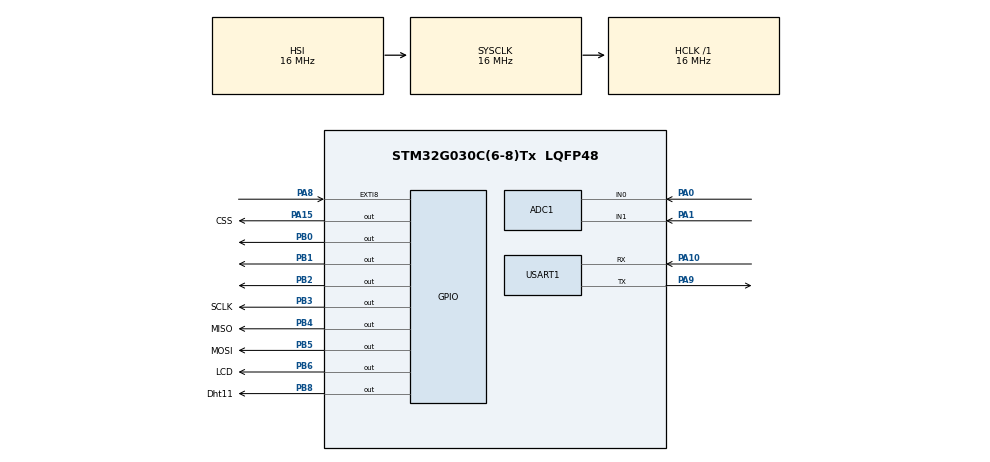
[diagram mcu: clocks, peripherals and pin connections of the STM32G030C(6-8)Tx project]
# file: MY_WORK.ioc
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ADC1.Channel-0\#ChannelRegularConversion=ADC_CHANNEL_1
ADC1.Channel-1\#ChannelRegularConversion=ADC_CHANNEL_0
ADC1.ContinuousConvMode=ENABLE
ADC1.NbrOfConversion=2
ADC1.NbrOfConversionFlag=1
ADC1.Rank-0\#ChannelRegularConversion=1
ADC1.Rank-1\#ChannelRegularConversion=2
ADC1.SamplingTime-0\#ChannelRegularConversion=ADC_SAMPLINGTIME_COMMON_1
ADC1.SamplingTime-1\#ChannelRegularConversion=ADC_SAMPLINGTIME_COMMON_1
ADC1.SelectedChannel=ADC_CHANNEL_0|ADC_CHANNEL_1
ADC1.master=1
Dma.ADC1.0.Direction=DMA_PERIPH_TO_MEMORY
Dma.ADC1.0.EventEnable=DISABLE
Dma.ADC1.0.Instance=DMA1_Channel1
Dma.ADC1.0.MemDataAlignment=DMA_MDATAALIGN_HALFWORD
Dma.ADC1.0.MemInc=DMA_MINC_ENABLE
Dma.ADC1.0.Mode=DMA_NORMAL
Dma.ADC1.0.PeriphDataAlignment=DMA_PDATAALIGN_HALFWORD
Dma.ADC1.0.PeriphInc=DMA_PINC_DISABLE
Dma.ADC1.0.Polarity=HAL_DMAMUX_REQ_GEN_RISING
Dma.ADC1.0.Priority=DMA_PRIORITY_LOW
Dma.ADC1.0.RequestNumber=1
Dma.ADC1.0.SignalID=NONE
Dma.ADC1.0.SyncEnable=DISABLE
Dma.ADC1.0.SyncPolarity=HAL_DMAMUX_SYNC_NO_EVENT
Dma.ADC1.0.SyncRequestNumber=1
Dma.ADC1.0.SyncSignalID=NONE
Dma.Request0=ADC1
Dma.Request1=USART1_RX
Dma.USART1_RX.1.Direction=DMA_PERIPH_TO_MEMORY
Dma.USART1_RX.1.EventEnable=DISABLE
Dma.USART1_RX.1.Instance=DMA1_Channel2
Dma.USART1_RX.1.MemDataAlignment=DMA_MDATAALIGN_BYTE
Dma.USART1_RX.1.MemInc=DMA_MINC_ENABLE
Dma.USART1_RX.1.Mode=DMA_NORMAL
Dma.USART1_RX.1.PeriphDataAlignment=DMA_PDATAALIGN_BYTE
Dma.USART1_RX.1.PeriphInc=DMA_PINC_DISABLE
Dma.USART1_RX.1.Polarity=HAL_DMAMUX_REQ_GEN_RISING
Dma.USART1_RX.1.Priority=DMA_PRIORITY_LOW
Dma.USART1_RX.1.RequestNumber=1
Dma.USART1_RX.1.SignalID=NONE
Dma.USART1_RX.1.SyncEnable=DISABLE
Dma.USART1_RX.1.SyncPolarity=HAL_DMAMUX_SYNC_NO_EVENT
Dma.USART1_RX.1.SyncRequestNumber=1
Dma.USART1_RX.1.SyncSignalID=NONE
Mcu.Family=STM32G0
Mcu.Name=STM32G030C(6-8)Tx
Mcu.Package=LQFP48
NVIC.ADC1_IRQn=true\:0\:0\:false\:false\:true\:true\:true\:true
NVIC.DMA1_Channel1_IRQn=true\:0\:0\:false\:false\:true\:false\:true\:true
NVIC.DMA1_Channel2_3_IRQn=true\:0\:0\:false\:false\:true\:false\:true\:true
NVIC.EXTI4_15_IRQn=true\:0\:0\:false\:false\:true\:true\:true\:true
NVIC.USART1_IRQn=true\:0\:0\:true\:false\:true\:true\:true\:true
PA0.Mode=IN0
PA0.Signal=ADC1_IN0
PA1.Mode=IN1
PA1.Signal=ADC1_IN1
PA10.Mode=Asynchronous
PA10.Signal=USART1_RX
PA13.Mode=Serial_Wire
PA13.Signal=SYS_SWDIO
PA14-BOOT0.Mode=Serial_Wire
PA14-BOOT0.Signal=SYS_SWCLK
PA15.GPIO_Label=CSS
PA15.GPIO_Speed=GPIO_SPEED_FREQ_VERY_HIGH
PA15.Signal=GPIO_Output
PA8.Signal=GPXTI8
PA9.Mode=Asynchronous
PA9.Signal=USART1_TX
PB0.PinState=GPIO_PIN_SET
PB0.Signal=GPIO_Output
PB1.PinState=GPIO_PIN_SET
PB1.Signal=GPIO_Output
PB2.PinState=GPIO_PIN_SET
PB2.Signal=GPIO_Output
PB3.GPIO_Label=SCLK
PB3.GPIO_Speed=GPIO_SPEED_FREQ_VERY_HIGH
PB3.Signal=GPIO_Output
PB4.GPIO_Label=MISO
PB4.GPIO_Speed=GPIO_SPEED_FREQ_VERY_HIGH
PB4.Signal=GPIO_Output
PB5.GPIO_Label=MOSI
PB5.GPIO_Speed=GPIO_SPEED_FREQ_VERY_HIGH
PB5.Signal=GPIO_Output
PB6.GPIO_Label=LCD
PB6.GPIO_Speed=GPIO_SPEED_FREQ_VERY_HIGH
PB6.Signal=GPIO_Output
PB8.GPIO_Label=Dht11
PB8.GPIO_ModeDefaultOutputPP=GPIO_MODE_OUTPUT_PP
PB8.GPIO_PuPd=GPIO_NOPULL
PB8.GPIO_Speed=GPIO_SPEED_FREQ_HIGH
PB8.PinState=GPIO_PIN_SET
PB8.Signal=GPIO_Output
ProjectManager.HeapSize=0x200
ProjectManager.StackSize=0x400
ProjectManager.TargetToolchain=MDK-ARM V5.32
RCC.ADCFreq_Value=16000000
RCC.AHBFreq_Value=16000000
RCC.CortexFreq_Value=16000000
RCC.EXTERNAL_CLOCK_VALUE=12288000
RCC.HCLKFreq_Value=16000000
RCC.HSE_VALUE=8000000
RCC.HSI_VALUE=16000000
RCC.LSE_VALUE=32768
RCC.SYSCLKFreq_VALUE=16000000
RCC.VCOOutputFreq_Value=128000000
USART1.VirtualMode-Asynchronous=VM_ASYNC
board=custom

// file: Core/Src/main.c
/* USER CODE BEGIN Header */
/**
  ******************************************************************************
  * @file           : main.c
  * @brief          : Main program body
  ******************************************************************************
  * @attention
  *
  * Copyright (c) 2024 STMicroelectronics.
  * All rights reserved.
  *
  * This software is licensed under terms that can be found in the LICENSE file
  * in the root directory of this software component.
  * If no LICENSE file comes with this software, it is provided AS-IS.
  *
  ******************************************************************************
  */
/* USER CODE END Header */
#include "main.h"
#include "adc.h"
#include "dma.h"
#include "usart.h"
#include "gpio.h"

/* USER CODE BEGIN Includes */
#include <stdio.h>
#include <string.h>
#include "dht11.h"
#include "lcd.h"
#include "font_onmy.h"
/* USER CODE END Includes */

/* USER CODE BEGIN PTD */
static uint32_t fac_us = 0; //us延时倍乘数
uint32_t Tick=20000;

uint8_t humiH;
uint8_t humiL;
uint8_t tempH;
uint8_t tempL;

int T_up;
int T_low;
int H_up;
int H_low;
int flag_t=0;

uint8_t Threshold_t_set[2];//设置的温度阈值
uint8_t Threshold_t_conf[2];//确定温度阈值
uint8_t Threshold_h_set[2];//设置的温度阈值
uint8_t Threshold_h_conf[2];//确定温度阈值

uint16_t value[2];//接收ADC的转换值

uint8_t Disp_num=0x00;//界面转换，参数选择调节

uint8_t buf_ctl[64];//串口接收字符数组

uint8_t *Lcd_Disp_String[17];//字符16x16

uint16_t cl1=WHITE;
uint16_t cl2=WHITE;
uint16_t cl3=WHITE;
uint16_t cl4=WHITE;

/* USER CODE END PTD */

/* USER CODE BEGIN PD */

void delay_init(uint8_t SYSCLK);
void delay_ms(uint16_t nms);
void delay_us(uint32_t nus);

int getKey_value(uint32_t key);
void Lcd_Proc(void);
void Get_AdcData(void);
void Key_Proc(void);
void Uart_Proc(void);

/* USER CODE END PD */

void SystemClock_Config(void);

int main(void)
{

  /* MCU Configuration--------------------------------------------------------*/

  /* Reset of all peripherals, Initializes the Flash interface and the Systick. */
  HAL_Init();

  /* Configure the system clock */
  SystemClock_Config();

  /* Initialize all configured peripherals */
  MX_GPIO_Init();
  MX_DMA_Init();
  MX_ADC1_Init();
  MX_USART1_UART_Init();
  /* USER CODE BEGIN 2 */
	Lcd_Init();
	Lcd_Clear(YELLOW);

	delay_init(16);

	HAL_ADC_Start_DMA(&hadc1,(uint32_t *)value,2);
	HAL_ADC_Stop_DMA(&hadc1);

	int flag=FS_DHT11_Init();
	if(flag==0)
	{
		printf("传感设备正常，可以通信;工作电压：%.2fV\r\n",(float)value[1]*(3.3/4096));
	}
	//给定初始阈值
	T_up=35;
	T_low=27;
	H_up=70;
	H_low=55;

  /* USER CODE END 2 */

  /* Infinite loop */
  while (1)
  {

    /* USER CODE BEGIN 3 */
		DHT11_Read_Data(&humiH,&humiL,&tempH,&tempL);
		Uart_Proc();
		Lcd_Proc();
		flag_t=1;
  }
  /* USER CODE END 3 */
}

void SystemClock_Config(void)
{
  RCC_OscInitTypeDef RCC_OscInitStruct = {0};
  RCC_ClkInitTypeDef RCC_ClkInitStruct = {0};

  /** Configure the main internal regulator output voltage
  */
  HAL_PWREx_ControlVoltageScaling(PWR_REGULATOR_VOLTAGE_SCALE1);

  /** Initializes the RCC Oscillators according to the specified parameters
  * in the RCC_OscInitTypeDef structure.
  */
  RCC_OscInitStruct.OscillatorType = RCC_OSCILLATORTYPE_HSI;
  RCC_OscInitStruct.HSIState = RCC_HSI_ON;
  RCC_OscInitStruct.HSIDiv = RCC_HSI_DIV1;
  RCC_OscInitStruct.HSICalibrationValue = RCC_HSICALIBRATION_DEFAULT;
  RCC_OscInitStruct.PLL.PLLState = RCC_PLL_NONE;
  if (HAL_RCC_OscConfig(&RCC_OscInitStruct) != HAL_OK)
  {
    Error_Handler();
  }

  /** Initializes the CPU, AHB and APB buses clocks
  */
  RCC_ClkInitStruct.ClockType = RCC_CLOCKTYPE_HCLK|RCC_CLOCKTYPE_SYSCLK
                              |RCC_CLOCKTYPE_PCLK1;
  RCC_ClkInitStruct.SYSCLKSource = RCC_SYSCLKSOURCE_HSI;
  RCC_ClkInitStruct.AHBCLKDivider = RCC_SYSCLK_DIV1;
  RCC_ClkInitStruct.APB1CLKDivider = RCC_HCLK_DIV1;

  if (HAL_RCC_ClockConfig(&RCC_ClkInitStruct, FLASH_LATENCY_0) != HAL_OK)
  {
    Error_Handler();
  }
}

/* USER CODE BEGIN 4 */

/*   功能：按键外部中断回调，识别按键是否按下，处理识别按键，并进行相应处理   */
void HAL_GPIO_EXTI_Rising_Callback(uint16_t GPIO_Pin)//
{
	Get_AdcData();
	delay_us(1);
	Get_AdcData();
	int k=getKey_value(value[0]);//value[0],按键adc值
	if(k==5)
	{
			Lcd_Clear(YELLOW);
			Disp_num ^= 0x10;
			if(Disp_num>>4 == 0x1)//阈值设置界面
			{
				Lcd_Clear(YELLOW);
			}
			else if(Disp_num>>4 == 0x0)//数据显示界面
			{
				Lcd_Clear(YELLOW);
				Threshold_t_conf[0] = Threshold_t_set[0];
				Threshold_t_conf[1] = Threshold_t_set[1];
				Threshold_h_conf[0] = Threshold_h_set[0];
				Threshold_h_conf[1] = Threshold_h_set[1];
			}
	}

	if(k==3)//左键，向上选择参数
	{
		if((Disp_num>>4)==0x1)
			if(--Disp_num == 0xf)
				Disp_num = 0x13;
	}
	if(k==4)//右键，向下选择参数
	{
		if((Disp_num>>4)==0x1)
			if(++Disp_num == 0x14)
				Disp_num = 0x10;
	}
	if(k==1)//上键，加
	{
		if(Disp_num == 0x10)
		{
			Threshold_t_set[0] ++;
		}
		else if(Disp_num == 0x11)
		{
			Threshold_t_set[1] ++;
		}
		else if(Disp_num == 0x12)
		{
			Threshold_h_set[0] ++;
		}
		else if(Disp_num == 0x13)
		{
			Threshold_h_set[1] ++;
		}
	}
	if(k==2)//下键，减
	{
		if(Disp_num == 0x10)
		{
			Threshold_t_set[0]--;
		}
		else if(Disp_num == 0x11)
		{
			Threshold_t_set[1]--;
		}
		else if(Disp_num == 0x12)
		{
			Threshold_h_set[0]--;
		}
		else if(Disp_num == 0x13)
		{
			Threshold_h_set[1]--;
		}
	}
}

/*   功能：LCD显示   */
void Lcd_Proc(void)
{
		if(Disp_num>>4 == 0x1)//阈值设置界面
		{
			if(Disp_num==0x10)
			{
				cl1=WHITE;
			}
			else
				cl1=YELLOW;
			if(Disp_num==0x11)
			{
				cl2=WHITE;
			}
			else
				cl2=YELLOW;
			if(Disp_num==0x12)
			{
				cl3=WHITE;
			}
			else
				cl3=YELLOW;
			if(Disp_num==0x13)
			{
				cl4=WHITE;
			}
			else
				cl4=YELLOW;

			Gui_DrawFont_1616(32,0,BLACK, YELLOW,font12,4);//第一行,阈值设置

			Gui_DrawFont_1616(48,16,BLACK, YELLOW,font2,3);//第二行，温度

			Gui_DrawFont_1616(16,32,BLACK, YELLOW,font10,3);//第三行
			sprintf((char *)Lcd_Disp_String," %.2fC",(float)Threshold_t_set[0]);//温度上阈值
			Gui_DrawFont_GBK16(64, 32, BLACK, cl1,(uint8_t *)Lcd_Disp_String);

			Gui_DrawFont_1616(16,48,BLACK, YELLOW,font11,3);//第四行
			sprintf((char *)Lcd_Disp_String," %.2fC",(float)Threshold_t_set[1]);//温度下阈值
			Gui_DrawFont_GBK16(64, 48, BLACK, cl2,(uint8_t *)Lcd_Disp_String);

			Gui_DrawFont_1616(16,64,BLACK, YELLOW,font7,5);//第五行，湿度
			sprintf((char *)Lcd_Disp_String,"  ");
			Gui_DrawFont_GBK16(96, 64, BLACK, YELLOW,(uint8_t *)Lcd_Disp_String);

			Gui_DrawFont_1616(16,80,BLACK, YELLOW,font10,3);//第六行
			sprintf((char *)Lcd_Disp_String," %d%% ",Threshold_h_set[0]);//湿度上阈值
			Gui_DrawFont_GBK16(64, 80, BLACK, cl3,(uint8_t *)Lcd_Disp_String);

			Gui_DrawFont_1616(16,96,BLACK, YELLOW,font11,3);//第七行
			sprintf((char *)Lcd_Disp_String," %d%% ",Threshold_h_set[1]);//湿度下阈值
			Gui_DrawFont_GBK16(64, 96, BLACK, cl4,(uint8_t *)Lcd_Disp_String);

			Gui_DrawFont_1616(0,112,BLACK, YELLOW,font13,8);//第八行，空白

		}
		else if(Disp_num>>4 == 0x0)//数据显示界面
		{
			float temp=tempH + tempL*0.1;

			Gui_DrawFont_1616(16,0,BLACK, YELLOW,font1,5);//第一行，设备名

			Gui_DrawFont_1616(16,32,BLACK, YELLOW,font2,3);//第三行，温度：
			sprintf((char *)Lcd_Disp_String,"%.2f C",temp);//温度数值
			Gui_DrawFont_GBK16(64, 32, BLACK, YELLOW,(uint8_t *)Lcd_Disp_String);

			Gui_DrawFont_1616(0,48,BLACK, YELLOW,font7,5);//第四行，湿度：
			sprintf((char *)Lcd_Disp_String,"%d%%  ",humiH);//湿度数值
			Gui_DrawFont_GBK16(80, 48, BLACK, YELLOW,(uint8_t *)Lcd_Disp_String);

			Gui_DrawFont_1616(32,64,BLACK, YELLOW,font4,3);//第五行，制热
			if(temp<Threshold_t_conf[1])
			{
				Gui_DrawFont_1616(80,64,BLACK, YELLOW,font5,1);//制热开
				HAL_GPIO_WritePin(GPIOB, GPIO_PIN_1, GPIO_PIN_RESET);
			}
			if(temp>Threshold_t_conf[1])
			{
				Gui_DrawFont_1616(80,64,BLACK, YELLOW,font6,1);//制热关
				HAL_GPIO_WritePin(GPIOB, GPIO_PIN_1, GPIO_PIN_SET);
			}

			Gui_DrawFont_1616(16,80,BLACK, YELLOW,font3,4);//第六行，制冷
			if(humiH>Threshold_h_conf[0] || temp>Threshold_t_conf[0])
			{
				Gui_DrawFont_1616(80,80,BLACK, YELLOW,font5,1);//制冷开
				HAL_GPIO_WritePin(GPIOB, GPIO_PIN_0, GPIO_PIN_RESET);
			}
			else if(humiH<=Threshold_h_conf[1] || temp<=Threshold_t_conf[1])
			{
				Gui_DrawFont_1616(80,80,BLACK, YELLOW,font6,1);//制冷关
				HAL_GPIO_WritePin(GPIOB, GPIO_PIN_0, GPIO_PIN_SET);
			}

			Gui_DrawFont_1616(16,96,BLACK, YELLOW,font8,4);//第七行，风机：
			if(humiH>Threshold_h_conf[0])
			{
				Gui_DrawFont_1616(80,96,BLACK, YELLOW,font5,1);//风机开
				HAL_GPIO_WritePin(GPIOB, GPIO_PIN_2, GPIO_PIN_RESET);
			}
			else if(humiH<=Threshold_h_conf[1])
			{
				Gui_DrawFont_1616(80,96,BLACK, YELLOW,font6,1);//风机关
				HAL_GPIO_WritePin(GPIOB, GPIO_PIN_2, GPIO_PIN_SET);
			}

			Gui_DrawFont_1616(0,112,BLACK, YELLOW,font9,5);//第八行，工作电压：
			sprintf((char *)Lcd_Disp_String,"%.2fV",(float)value[1]*(3.3/4096));
			Gui_DrawFont_GBK16(80, 112, BLACK, YELLOW,(uint8_t *)Lcd_Disp_String);

		}
}

/*   功能：串口相关功能   */
void Uart_Proc(void)
{
		if(flag_t==1)
		{
			if((uwTick-Tick) > 2000)
			{
				Tick=uwTick;
				printf("温度：%.2fC  湿度：%d%%  Vot:%.2fV  正常工作中\r\n",
								tempH + tempL*0.1,humiH,(float)value[1]*(3.3/4096));
			}
		}
		HAL_UART_Receive_DMA(&huart1,buf_ctl,64);	//串口接收DMA使能
		__HAL_UART_ENABLE_IT(&huart1,UART_IT_IDLE);	//开启串口空闲中断

}

/*   -重写 ADC转换完成中断完成回调函数  */
void HAL_ADC_ConvCpltCallback(ADC_HandleTypeDef *hadc)//
{
	HAL_ADC_Stop_DMA(&hadc1);
//	printf("KEY=%d   VOT=%d\n",value[0],value[1]);
}

/*   功能：获取adc数据，包括按键电压value[0]，电源电压value[1],此两值未换算   */
/*   以DMA方式开启ADC获取数据   */
void Get_AdcData()
{
	HAL_ADC_Start_DMA(&hadc1,(uint32_t *)value,2);
}

/*   功能：根据adc值，识别按键   */
int getKey_value(uint32_t key)
{
	int k;
	if(key>2156 && key<2200)//上
		k=1;
	else if(key>570 && key<610)//下
		k=2;
	else if(key>1600 && key<1630)//左
		k=3;
	else if(key>3030 && key<3080)//右
		k=4;
	else if(key>2600 && key<2650)//中
		k=5;
	return k;
}

/*   ****************************************************************************   */

void delay_init(uint8_t SYSCLK)
{
  fac_us = SYSCLK;
}

void delay_us(uint32_t nus)//100  6800
{
  uint32_t ticks;
  uint32_t told, tnow, tcnt = 0;
  uint32_t reload = SysTick->LOAD; //LOAD的值
  ticks = nus * fac_us;            //需要的节拍数
  told = SysTick->VAL;             // 24  刚进入时的计数器值
  while (1)
  {
    tnow = SysTick->VAL;//22  20  0
    if (tnow != told)
    {
      if (tnow < told)
        tcnt += told - tnow; //这里注意一下SYSTICK是一个递减的计数器就可以了.
      else
        tcnt += reload - tnow + told;
      told = tnow;
      if (tcnt >= ticks)
        break; //时间超过/等于要延迟的时间,则退出.
    }
  }
}

void delay_ms(uint16_t nms)
{
  uint32_t i;
  for (i = 0; i < nms; i++)
    delay_us(1000);
}

int fputc(int ch,FILE *p)
{
		while(!(USART1->ISR &(1<<7))){}
	  USART1->TDR = ch;
	  return ch;
}

/* USER CODE END 4 */

void Error_Handler(void)
{
  __disable_irq();
  while (1)
  {
  }
}
